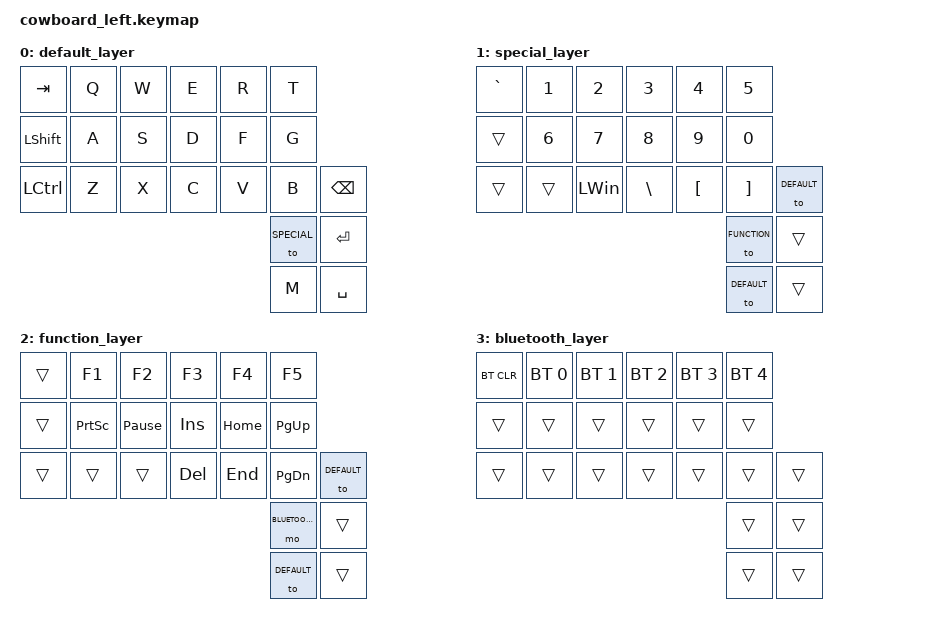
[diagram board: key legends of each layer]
#include <behaviors.dtsi>
#include <dt-bindings/zmk/keys.h>
#include <dt-bindings/zmk/bt.h>

#define DEFAULT 0
#define SPECIAL 1
#define FUNCTION 2
#define BLUETOOTH 3

/ {
    keymap {
        compatible = "zmk,keymap";

        default_layer {
// -----------------------------------------------------------------------
// |  TAB    |    Q    |    W    |    E    |    R    |    T    |           
// |  SHIFT  |    A    |    S    |    D    |    F    |    G    |              
// |  CTRL   |    Z    |    X    |    C    |    V    |    B    |   ALT   |
//                                                   | Layer Up|  ENTER  |
//                                                   | Layer Dn|  Space  |
            bindings = <
    &kp TAB    &kp Q    &kp W    &kp E     &kp R     &kp T                                                
    &kp LSHIFT &kp A    &kp S    &kp D     &kp F     &kp G                                                 
    &kp LCTRL  &kp Z    &kp X    &kp C     &kp V     &kp B          &kp BACKSPACE 
                                                     &to SPECIAL    &kp ENTER    
                                                     &kp M          &kp SPACE  
            >;
        };
    
    special_layer {
// ----------------------------------------------------------------------------
// |         |   1/!   |   2/@   |   3/#   |   4/$   |    5/%  |           
// |         |   6/^   |   7/&   |   8/*   |   9/(   |    0/)  |              
// |         |         |   Win   |   \     |   [/{   |   ]/}   |         |
//                                                   | FUNCTION|         |
//                                                   | DEFAULT |         |
                bindings = <
    &kp GRAVE &kp N1   &kp N2        &kp N3         &kp N4           &kp N5                                                
    &trans    &kp N6   &kp N7        &kp N8         &kp N9           &kp N0                                                 
    &trans    &trans   &kp LEFT_WIN  &kp BACKSLASH  &kp LEFT_BRACKET &kp RIGHT_BRACKET &to DEFAULT
                                                                     &to FUNCTION     &trans    
                                                                     &to DEFAULT      &trans  
            >;
        };
    
    function_layer {
// -----------------------------------------------------------------------------
// |        |    F1   |    F2   |    F3   |    F4   |    F5   |           
// |        |  PrtSc  |  Pause  |    Ins  |   Home  |   PgUp  |              
// |        |         |         |    Del  |   End   |   PgDn  |         |
//                                                  |BLUETOOTH|         |
//                                                  | DEFAULT |         |
            bindings = <
    &trans  &kp F1          &kp F2          &kp F3     &kp F4   &kp F5                                                
    &trans  &kp PRINTSCREEN &kp PAUSE_BREAK &kp INSERT &kp HOME &kp PAGE_UP                                                 
    &trans  &trans          &trans          &kp DELETE &kp END  &kp PAGE_DOWN  &to DEFAULT 
                                                                &mo BLUETOOTH  &trans    
                                                                &to DEFAULT   &trans  
            >;
        };
    bluetooth_layer {
// -----------------------------------------------------------------------------
// |  BTCLR |   BT1   |   BT2   |   BT3   |   BT4   |   BT5   |           
// |        |         |         |         |         |         |              
// |        |         |         |         |         |         |         |
//                                                  |BLUETOOTH|         |
//                                                  | DEFAULT |         |
            bindings = <
    &bt BT_CLR  &bt BT_SEL 0  &bt BT_SEL 1 &bt BT_SEL 2 &bt BT_SEL 3 &bt BT_SEL 4                                           
    &trans      &trans        &trans       &trans       &trans       &trans                                                    
    &trans      &trans        &trans       &trans       &trans       &trans       &trans
                                                                     &trans       &trans    
                                                                     &trans       &trans  
            >;
        };
    };
};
